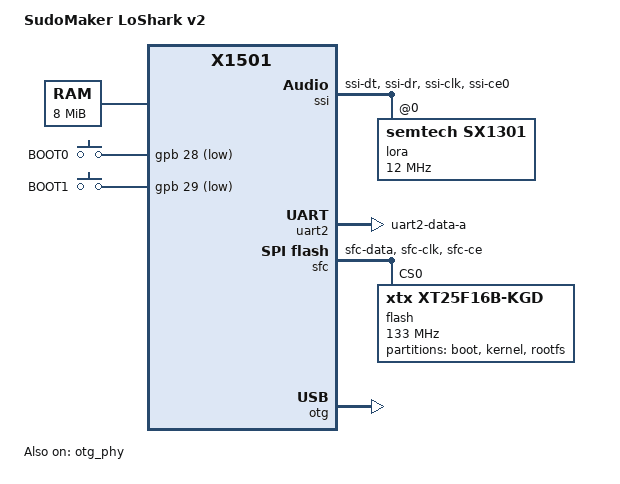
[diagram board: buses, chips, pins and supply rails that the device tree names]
// SPDX-License-Identifier: GPL-2.0
/dts-v1/;

#include "x1501.dtsi"
#include <dt-bindings/gpio/gpio.h>
#include <dt-bindings/input/input.h>
#include <dt-bindings/clock/ingenic,sysost.h>
#include <dt-bindings/interrupt-controller/irq.h>

/ {
	compatible = "sudomaker,loshark-v2", "ingenic,x1501";
	model = "SudoMaker LoShark v2";

	aliases {
		serial2 = &uart2;
	};

	chosen {
		stdout-path = "serial2:115200n8";
	};

	memory {
		device_type = "memory";
		reg = <0x0 0x00800000>;
	};

	gpio_keys {
		compatible = "gpio-keys";

		btn_lf {
			wakeup-source;
			label = "BOOT0";
			linux,code = <KEY_F1>;
			gpios = <&gpb 28 GPIO_ACTIVE_LOW>;
		};

		btn_rf {
			wakeup-source;
			label = "BOOT1";
			linux,code = <KEY_F2>;
			gpios = <&gpb 29 GPIO_ACTIVE_LOW>;
		};
	};
};

&exclk {
	clock-frequency = <24000000>;
};

&cgu {
	assigned-clocks = <&cgu X1000_CLK_SSIMUX>, <&cgu X1000_CLK_RTC>;
	assigned-clock-parents = <&cgu X1000_CLK_SSIPLL_DIV2>, <&cgu X1000_CLK_EXCLK_DIV512>;
};

&ost {
	/* 1500 kHz for the system timer and clocksource */
	assigned-clocks = <&ost OST_CLK_EVENT_TIMER>, <&ost OST_CLK_GLOBAL_TIMER>;
	assigned-clock-rates = <1500000>, <1500000>;
};


&ssi {
	status = "okay";

	pinctrl-names = "default";
	pinctrl-0 = <&pins_spi0>;

	num-cs = <1>;
	cs-gpios = <0>;

	lora: sx126x@0 {
		reg = <0>;
		compatible = "semtech,sx1301";

		spi-max-frequency = <12000000>;
	};
};

&uart2 {
	status = "okay";

	pinctrl-names = "default";
	pinctrl-0 = <&pins_uart2>;
};

&sfc {
	status = "okay";

	#address-cells = <1>;
	#size-cells = <0>;

	pinctrl-names = "default";
	pinctrl-0 = <&pins_sfc>;

	flash: xt25f16b@0 {
		compatible = "xtx,xt25f16b-kgd", "xtx,xt25f16b", "jedec,spi-nor";
		spi-max-frequency = <133000000>;
		reg = <0>;

		spi-rx-bus-width = <4>;
		spi-tx-bus-width = <4>;

		partitions {
			compatible = "fixed-partitions";
			#address-cells = <1>;
			#size-cells = <1>;

			boot {
				reg = <0x0 0x4000>;
			};

			kernel {
				reg = <0x4000 0xC8000>;
			};

			rootfs {
				reg = <0xCC000 0x134000>;
			};

		};
	};
};

&otg_phy {
	status = "okay";
	wakeup-source;
};

&otg {
	status = "okay";
	wakeup-source;
};

&pinctrl {
	pins_sfc: sfc {
		function = "sfc";
		groups = "sfc-data", "sfc-clk", "sfc-ce";
		bias-disable;
	};

	pins_spi0: spi0 {
		function = "ssi";
		groups = "ssi-dt", "ssi-dr", "ssi-clk", "ssi-ce0";
	};

	pins_uart2: uart2 {
		function = "uart2";
		groups = "uart2-data-a";
	};
};
